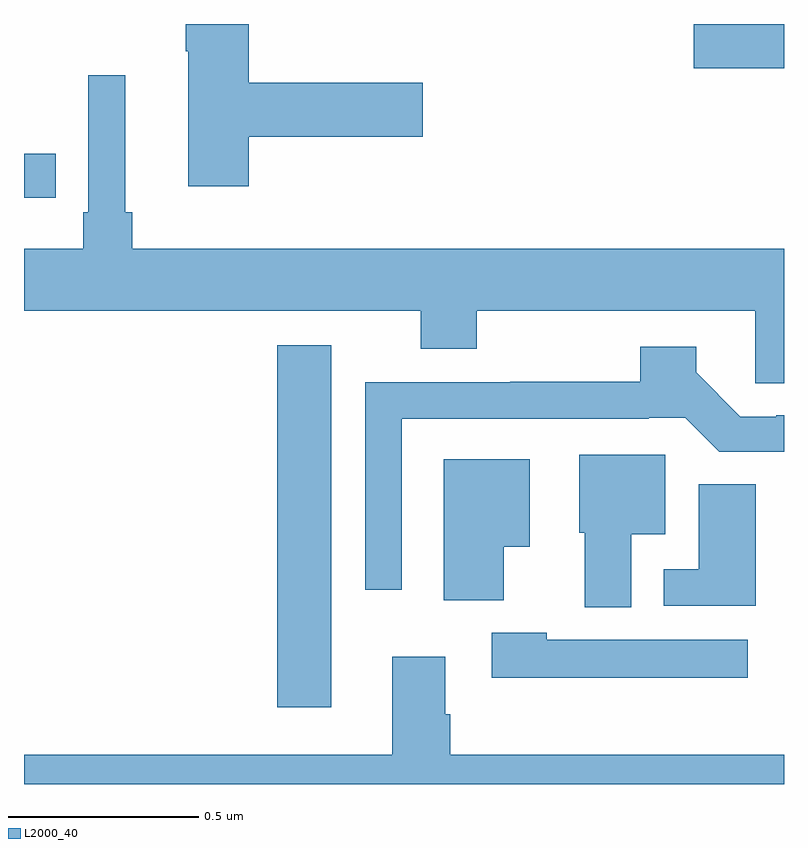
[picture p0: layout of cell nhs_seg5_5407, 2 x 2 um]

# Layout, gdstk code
import gdstk
lib = gdstk.Library(unit=1e-6, precision=1e-09)
def R(c, l, rs):  # rectangles x0, y0, x1, y1
    for r in rs: c.add(gdstk.rectangle(r[:2], r[2:], *l))
def P(c, l, *ps):  # polygons
    for p in ps: c.add(gdstk.Polygon(p, *l))
L2000_40 = (2000, 40)

nhs_seg5_5407 = lib.new_cell('nhs_seg5_5407')
R(nhs_seg5_5407, L2000_40, [(182.666,905.001,182.809,905.953), (182,906.342,182.084,906.458), (183.762,906.682,184,906.799)])
P(nhs_seg5_5407, L2000_40, [(182.591,906.502),(183.049,906.502),(183.049,906.644),(182.591,906.644),(182.591,906.799),(182.425,906.799),(182.425,906.727),(182.432,906.727),(182.432,906.372),(182.591,906.372)],
  [(182.285,906.304),(182.266,906.304),(182.266,906.664),(182.169,906.664),(182.169,906.304),(182.156,906.304),(182.156,906.208),(182,906.208),(182,906.044),(183.044,906.044),(183.044,905.945),(183.192,905.945),(183.192,906.044),(183.924,906.044),(183.924,905.854),(184,905.854),(184,906.208),(182.285,906.208)],
  [(182.994,905.76),(183.644,905.76),(183.644,905.763),(183.74,905.763),(183.83,905.673),(184,905.673),(184,905.769),(183.979,905.769),(183.979,905.766),(183.885,905.766),(183.769,905.882),(183.769,905.95),(183.622,905.95),(183.622,905.858),(183.28,905.858),(183.28,905.856),(182.898,905.856),(182.898,905.31),(182.994,905.31)],
  [(183.598,905.456),(183.688,905.456),(183.688,905.665),(183.461,905.665),(183.461,905.46),(183.476,905.46),(183.476,905.264),(183.598,905.264)],
  [(183.262,905.423),(183.331,905.423),(183.331,905.653),(183.104,905.653),(183.104,905.283),(183.262,905.283)],
  [(183.925,905.588),(183.776,905.588),(183.776,905.364),(183.683,905.364),(183.683,905.268),(183.925,905.268)],
  [(183.904,905.179),(183.375,905.179),(183.375,905.197),(183.231,905.197),(183.231,905.078),(183.904,905.078)],
  [(184,904.876),(183.122,904.876),(183.122,904.982),(183.109,904.982),(183.109,905.134),(182.969,905.134),(182.969,904.876),(182,904.876),(182,904.799),(184,904.799)])

lib.write_gds('nhs_seg5_5407.gds')
